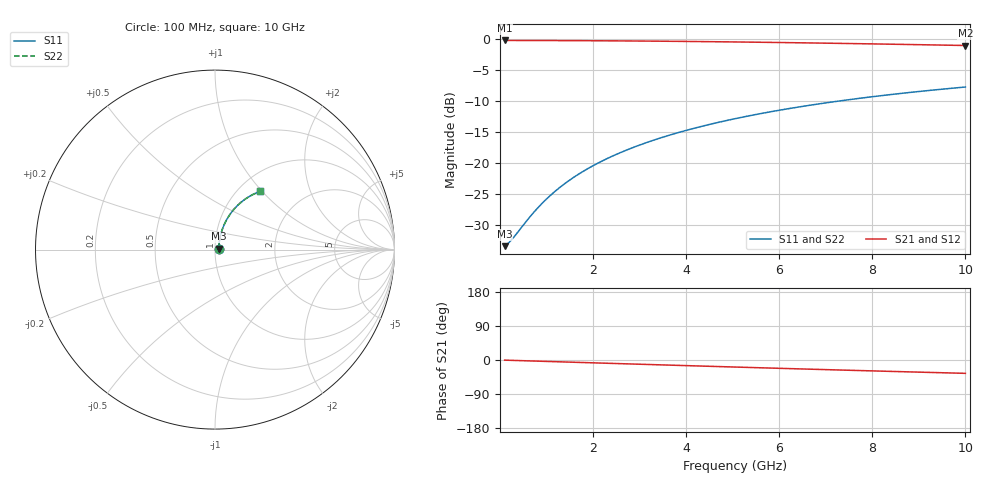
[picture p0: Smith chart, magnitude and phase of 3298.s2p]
# Hz S RI R 50.00
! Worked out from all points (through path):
!   100 points, 100 MHz to 10 GHz, reference 50 ohm
!   highest |S21| = -0.18 dB at 100 MHz (marker M1); lowest = -1.0 dB at 10 GHz (marker M2)
!   group delay of S21, straight-line fit = 9.81 ps
!   lowest |S11| = -33.4 dB at 100 MHz (marker M3), VSWR 1.04, Z = 52.1 + j0.473 ohm
!   |S11| at or under -10 dB: start of sweep to 7.257 GHz
!   |S22| runs from -33.4 to -7.7 dB; largest |S21 - S12| = 0
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1e8  0.0208 0.00453  0.9792 -0.0064  0.9792 -0.0064  0.0208 0.00453
2e8  0.0211 0.00906  0.9789 -0.0128  0.9789 -0.0128  0.0211 0.00906
3e8  0.0213 0.0136  0.9787 -0.0192  0.9787 -0.0192  0.0213 0.0136
7e8  0.0228 0.0316  0.9772 -0.0447  0.9772 -0.0447  0.0228 0.0316
8e8  0.0232 0.0361  0.9766 -0.0511  0.9766 -0.0511  0.0232 0.0361
1e9  0.0244 0.0451  0.9754 -0.0638  0.9754 -0.0638  0.0244 0.0451
1.2e9  0.0258 0.054  0.974 -0.0764  0.974 -0.0764  0.0258 0.054
1.4e9  0.0274 0.0629  0.9723 -0.0891  0.9723 -0.0891  0.0274 0.0629
1.6e9  0.0292 0.0717  0.9703 -0.1016  0.9703 -0.1016  0.0292 0.0717
1.8e9  0.0312 0.0805  0.9682 -0.1141  0.9682 -0.1141  0.0312 0.0805
2.1e9  0.0347 0.0935  0.9645 -0.1328  0.9645 -0.1328  0.0347 0.0935
2.5e9  0.0401 0.1105  0.9588 -0.1573  0.9588 -0.1573  0.0401 0.1105
2.9e9  0.0463 0.1272  0.9522 -0.1815  0.9522 -0.1815  0.0463 0.1272
3.4e9  0.0552 0.1475  0.9427 -0.2112  0.9427 -0.2112  0.0552 0.1475
3.8e9  0.0632 0.1632  0.9342 -0.2344  0.9342 -0.2344  0.0632 0.1632
4.2e9  0.072 0.1784  0.9248 -0.2571  0.9248 -0.2571  0.072 0.1784
5.1e9  0.0941 0.2104  0.9012 -0.3061  0.9012 -0.3061  0.0941 0.2104
5.9e9  0.1163 0.2362  0.8774 -0.347  0.8774 -0.347  0.1163 0.2362
6.7e9  0.1404 0.2594  0.8514 -0.3853  0.8514 -0.3853  0.1404 0.2594
7.5e9  0.1662 0.2797  0.8235 -0.4209  0.8235 -0.4209  0.1662 0.2797
8.4e9  0.1967 0.2991  0.7904 -0.4575  0.7904 -0.4575  0.1967 0.2991
1e10  0.2532 0.3247  0.7284 -0.5139  0.7284 -0.5139  0.2532 0.3247
